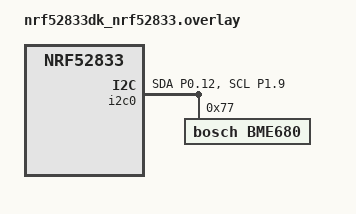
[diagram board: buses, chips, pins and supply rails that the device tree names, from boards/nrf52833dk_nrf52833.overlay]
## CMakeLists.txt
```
#
# Copyright (c) 2018 Bosch Sensortec GmbH
#
# SPDX-License-Identifier: Apache-2.0
#

cmake_minimum_required(VERSION 3.20.0)

set(BOARD environ_tracker2)
set(SHIELD environ_tracker_daughterboard_v2)

find_package(Zephyr REQUIRED HINTS $ENV{ZEPHYR_BASE})
project(bme680)

FILE(GLOB app_sources src/*.c)
target_sources(app PRIVATE ${app_sources})
```

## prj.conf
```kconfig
CONFIG_LOG=y
CONFIG_I2C=y
CONFIG_SENSOR=y
CONFIG_BME680=y
CONFIG_GPIO=y
CONFIG_GPIO_SX1508B=y

CONFIG_PRINTK=y
CONFIG_LOG=y
CONFIG_BOOT_BANNER=y

CONFIG_CONSOLE=y

#enable RTT shell
CONFIG_USE_SEGGER_RTT=y
CONFIG_SHELL_BACKEND_RTT=y
```

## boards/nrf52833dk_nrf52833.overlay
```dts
&pinctrl {
	i2c0_default: i2c0_default {
		group1 {
			psels = <NRF_PSEL(TWIM_SDA, 0, 12)>,
				<NRF_PSEL(TWIM_SCL, 1, 9)>;
			bias-pull-up;
		};
	};

    // i2c0_sleep: i2c0_sleep {
	// 	group1 {
	// 		psels = <NRF_PSEL(TWIM_SDA, 0, 12)>,
	// 			<NRF_PSEL(TWIM_SCL, 1, 9)>;
	// 		low-power-enable;
	// 	};
	// };
};

&i2c0 {
	compatible = "nordic,nrf-twi";
	status = "okay";
    pinctrl-0 = <&i2c0_default>;
	// pinctrl-1 = <&i2c0_sleep>;
	pinctrl-names = "default", "sleep";
    bme680@77 {
		compatible = "bosch,bme680";
		reg = <0x77>;
		label = "BME680";
	};
};
```

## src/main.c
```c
/*
 * Copyright (c) 2018 Bosch Sensortec GmbH
 *
 * SPDX-License-Identifier: Apache-2.0
 */

#include <zephyr.h>
#include <device.h>
#include <drivers/sensor.h>
#include <stdio.h>

#include <logging/log.h>

LOG_MODULE_REGISTER(BME680);

void main(void)
{
	const struct device *dev = device_get_binding(DT_LABEL(DT_INST(0, bosch_bme680)));
	struct sensor_value temp, press, humidity, gas_res;

	LOG_WRN("Device %p name is %s\n", dev, dev->name);

	while (1) {
		k_sleep(K_MSEC(3000));

		LOG_WRN("Running loop");


		sensor_sample_fetch(dev);
		sensor_channel_get(dev, SENSOR_CHAN_AMBIENT_TEMP, &temp);
		sensor_channel_get(dev, SENSOR_CHAN_PRESS, &press);
		sensor_channel_get(dev, SENSOR_CHAN_HUMIDITY, &humidity);
		sensor_channel_get(dev, SENSOR_CHAN_GAS_RES, &gas_res);

		LOG_WRN("T: %d.%06d; P: %d.%06d; H: %d.%06d; G: %d.%06d\n",
				temp.val1, temp.val2, press.val1, press.val2,
				humidity.val1, humidity.val2, gas_res.val1,
				gas_res.val2);
	}
}
```
